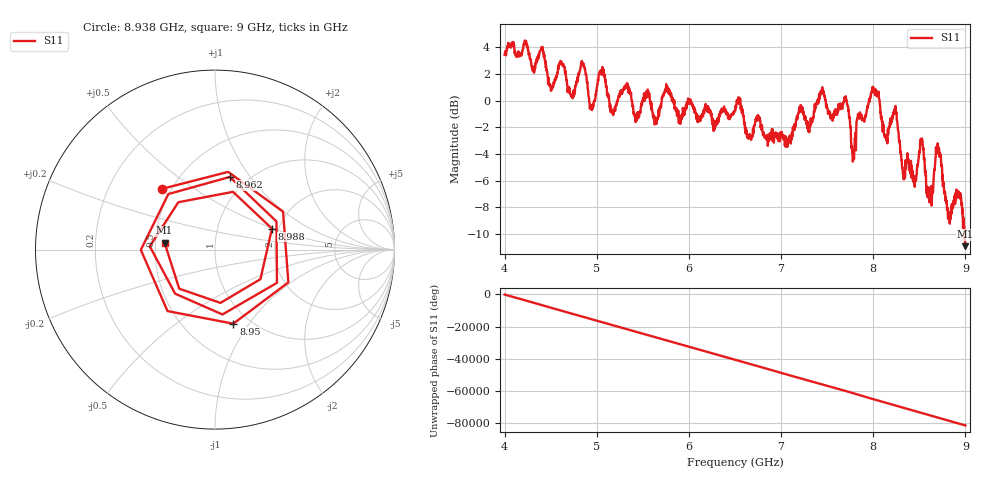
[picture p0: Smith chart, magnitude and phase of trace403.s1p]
! Created with skrf 1.8.0 (http://scikit-rf.org).
# Hz S RI R 50.0
!freq ReS11 ImS11
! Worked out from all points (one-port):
!   1601 points, 4 GHz to 9 GHz, reference 50 ohm
!   lowest |S11| = -10.9 dB at 9 GHz (marker M1), VSWR 1.79, Z = 28 + j2.38 ohm
!   |S11| at or under -10 dB: 8.989786 GHz to end of sweep
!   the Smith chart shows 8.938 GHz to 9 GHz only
!   S11 on the Smith chart (normalised r, x): 8.938 GHz: 0.44, +0.38; 8.95 GHz: 0.84, -0.85; 8.962 GHz: 0.83, +0.81; 8.988 GHz: 1.85, +0.49; 9 GHz: 0.56, +0.05
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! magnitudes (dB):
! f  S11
! 4 GHz  3.5
! 4.406 GHz  3.8
! 4.506 GHz  0.9
! 4.625 GHz  2.8
! 4.731 GHz  0.4
! 4.853 GHz  2.7
! 4.944 GHz  -0.6
! 5.047 GHz  2.2
! 5.162 GHz  -0.8
! 5.25 GHz  0.4
! 5.875 GHz  -1.2
! 6.5 GHz  -0.7
! 7.125 GHz  -2.3
! 7.447 GHz  1.0
! 7.75 GHz  -1.9
! 7.788 GHz  -3.8
! 8.012 GHz  0.9
! 8.375 GHz  -4.6
! 8.447 GHz  -5.8
! 8.531 GHz  -3.0
! 8.612 GHz  -7.2
! 8.706 GHz  -3.7
! 8.816 GHz  -8.4
! 8.938 GHz  -6.9
! 8.95 GHz  -7.4
! 8.962 GHz  -7.7
! 8.988 GHz  -9.4
! 9 GHz  -10.9
